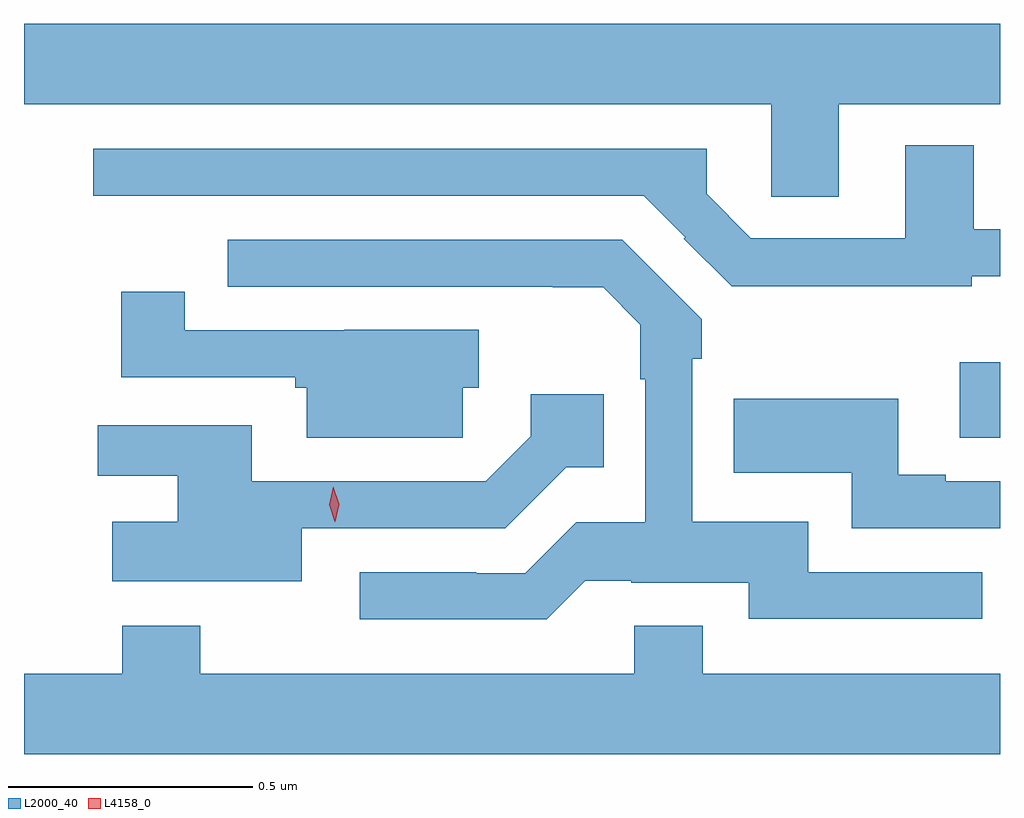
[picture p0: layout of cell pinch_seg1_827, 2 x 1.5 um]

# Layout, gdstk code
import gdstk
lib = gdstk.Library(unit=1e-6, precision=1e-09)
def R(c, l, rs):  # rectangles x0, y0, x1, y1
    for r in rs: c.add(gdstk.rectangle(r[:2], r[2:], *l))
def P(c, l, *ps):  # polygons
    for p in ps: c.add(gdstk.Polygon(p, *l))
L2000_40 = (2000, 40)
L4158_0 = (4158, 0)

pinch_seg1_827 = lib.new_cell('pinch_seg1_827')
R(pinch_seg1_827, L2000_40, [(374.643,569.696,374.725,569.851)])
P(pinch_seg1_827, L2000_40, [(374.395,570.38),(374.725,570.38),(374.725,570.544),(372.725,570.544),(372.725,570.38),(374.256,570.38),(374.256,570.19),(374.395,570.19)],
  [(374.667,570.027),(374.725,570.027),(374.725,570.123),(374.671,570.123),(374.671,570.295),(374.531,570.295),(374.531,570.105),(374.214,570.105),(374.124,570.196),(374.124,570.288),(372.867,570.288),(372.867,570.192),(373.995,570.192),(374.08,570.107),(374.077,570.104),(374.175,570.007),(374.667,570.007)],
  [(373.875,569.403),(373.969,569.403),(373.969,569.399),(374.21,569.399),(374.21,569.325),(374.689,569.325),(374.689,569.421),(374.332,569.421),(374.332,569.524),(374.094,569.524),(374.094,569.858),(374.114,569.858),(374.114,569.939),(373.951,570.102),(373.143,570.102),(373.143,570.006),(373.808,570.006),(373.808,570.004),(373.912,570.004),(373.988,569.928),(373.988,569.816),(373.998,569.816),(373.998,569.523),(373.857,569.523),(373.752,569.418),(373.652,569.418),(373.652,569.421),(373.413,569.421),(373.413,569.324),(373.796,569.324)],
  [(373.624,569.799),(373.657,569.799),(373.657,569.917),(373.381,569.917),(373.381,569.916),(373.054,569.916),(373.054,569.995),(372.924,569.995),(372.924,569.82),(373.281,569.82),(373.281,569.799),(373.304,569.799),(373.304,569.696),(373.624,569.696)],
  [(373.294,569.511),(373.711,569.511),(373.836,569.636),(373.913,569.636),(373.913,569.785),(373.763,569.785),(373.763,569.699),(373.671,569.607),(373.192,569.607),(373.192,569.722),(372.876,569.722),(372.876,569.618),(373.04,569.618),(373.04,569.524),(372.906,569.524),(372.906,569.402),(373.294,569.402)],
  [(374.725,569.607),(374.614,569.607),(374.614,569.62),(374.517,569.62),(374.517,569.776),(374.179,569.776),(374.179,569.624),(374.421,569.624),(374.421,569.511),(374.725,569.511)],
  [(374.725,569.212),(374.116,569.212),(374.116,569.311),(373.976,569.311),(373.976,569.212),(373.086,569.212),(373.086,569.311),(372.926,569.311),(372.926,569.212),(372.725,569.212),(372.725,569.048),(374.725,569.048)])
P(pinch_seg1_827, L4158_0, [(373.362,569.524),(373.362,569.524),(373.351,569.559),(373.359,569.596),(373.359,569.596),(373.359,569.596),(373.371,569.56),(373.363,569.524)])

lib.write_gds('pinch_seg1_827.gds')
